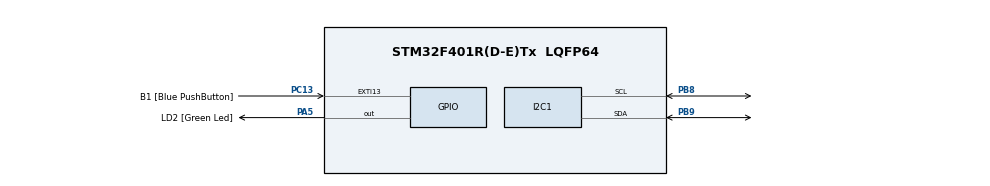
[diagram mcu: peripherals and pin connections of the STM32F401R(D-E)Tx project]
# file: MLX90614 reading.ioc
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Mcu.Family=STM32F4
Mcu.Name=STM32F401R(D-E)Tx
Mcu.Package=LQFP64
NVIC.PriorityGroup=NVIC_PRIORITYGROUP_0
PA13.GPIO_Label=TMS
PA13.Mode=Serial_Wire
PA13.Signal=SYS_JTMS-SWDIO
PA14.GPIO_Label=TCK
PA14.Mode=Serial_Wire
PA14.Signal=SYS_JTCK-SWCLK
PA5.GPIO_Label=LD2 [Green Led]
PA5.GPIO_Mode=GPIO_MODE_OUTPUT_PP
PA5.GPIO_PuPd=GPIO_NOPULL
PA5.GPIO_Speed=GPIO_SPEED_FREQ_LOW
PA5.Signal=GPIO_Output
PB3.GPIO_Label=SWO
PB3.Signal=SYS_JTDO-SWO
PB8.GPIO_Pu=GPIO_PULLUP
PB8.Mode=I2C
PB8.Signal=I2C1_SCL
PB9.GPIO_Pu=GPIO_PULLUP
PB9.Mode=I2C
PB9.Signal=I2C1_SDA
PC13-ANTI_TAMP.GPIO_Label=B1 [Blue PushButton]
PC13-ANTI_TAMP.GPIO_ModeDefaultEXTI=GPIO_MODE_IT_FALLING
PC13-ANTI_TAMP.GPIO_PuPd=GPIO_NOPULL
PC13-ANTI_TAMP.Signal=GPXTI13
PC14-OSC32_IN.Mode=LSE-External-Oscillator
PC14-OSC32_IN.Signal=RCC_OSC32_IN
PC15-OSC32_OUT.Mode=LSE-External-Oscillator
PC15-OSC32_OUT.Signal=RCC_OSC32_OUT
PH0\ -\ OSC_IN.Mode=HSE-External-Clock-Source
PH0\ -\ OSC_IN.Signal=RCC_OSC_IN
PH1\ -\ OSC_OUT.Mode=HSE-External-Clock-Source
PH1\ -\ OSC_OUT.Signal=RCC_OSC_OUT
ProjectManager.HeapSize=0x200
ProjectManager.StackSize=0x400
ProjectManager.TargetToolchain=STM32CubeIDE
RCC.48MHZClocksFreq_Value=48000000
RCC.AHBFreq_Value=84000000
RCC.APB1CLKDivider=RCC_HCLK_DIV2
RCC.APB1Freq_Value=42000000
RCC.APB1TimFreq_Value=84000000
RCC.APB2Freq_Value=84000000
RCC.APB2TimFreq_Value=84000000
RCC.CortexFreq_Value=84000000
RCC.HCLKFreq_Value=84000000
RCC.HSE_VALUE=8000000
RCC.HSI_VALUE=16000000
RCC.PLLN=336
RCC.PLLP=RCC_PLLP_DIV4
RCC.PLLQ=7
RCC.SYSCLKFreq_VALUE=84000000
RCC.SYSCLKSource=RCC_SYSCLKSOURCE_PLLCLK
RCC.VCOOutputFreq_Value=336000000
board=NUCLEO-F401RE

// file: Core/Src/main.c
/* USER CODE BEGIN Header */
/**
 ******************************************************************************
 * @file           : main.c
 * @brief          : Main program body
 ******************************************************************************
 * @attention
 *
 * Copyright (c) 2023 STMicroelectronics.
 * All rights reserved.
 *
 * This software is licensed under terms that can be found in the LICENSE file
 * in the root directory of this software component.
 * If no LICENSE file comes with this software, it is provided AS-IS.
 *
 ******************************************************************************
 */
/* USER CODE END Header */
#include "main.h"

/* USER CODE BEGIN Includes */
#include "BML_DEF.h"
#include "uart.h"
#include "rcc.h"
#include "MLX90614.h"
/* USER CODE END Includes */

/* USER CODE BEGIN PD */
I2C_HandleTypeDef hi2c1;
/* USER CODE END PD */

/* USER CODE BEGIN PV */
float temp = 0;
/* USER CODE END PV */

void SystemClock_Config(void);
static void MX_GPIO_Init(void);
void MX_I2C1_Init(void);

int main(void) {

	/* MCU Configuration--------------------------------------------------------*/

	/* Reset of all peripherals, Initializes the Flash interface and the Systick. */
	HAL_Init();

	/* USER CODE BEGIN Init */
	RCC_CONFIG_84MHZ();
	/* USER CODE END Init */

	/* Configure the system clock */
//	SystemClock_Config();

	/* Initialize all configured peripherals */
	MX_GPIO_Init();
	MX_I2C1_Init();
	/* USER CODE BEGIN 2 */
	uart_print_config(9600);
	print("Working\n");

	uint8_t mlx90614_workingFlag = 1, status = 0;

	if (!(mlx90614_init())) {
		print("Error in MLX90614 INIT\n");
		mlx90614_workingFlag = 0;
	}

	/* USER CODE END 2 */

	/* Infinite loop */
	/* USER CODE BEGIN WHILE */
	while (1) {
		if (mlx90614_workingFlag == 1) {
			status = mlx90614_getObject1(&temp);
			if (status == 1) {
				print("Temp in Celsius: = %0.2f\n", temp);
				Delay(500);
			}else{
				mlx90614_workingFlag = 0;
			}
		} else {
			if (!(mlx90614_init())) {
				print("Error in MLX90614 INIT\n");
				Delay(500);
				mlx90614_workingFlag = 0;
			} else {
				mlx90614_workingFlag = 1;
			}
		}
		/* USER CODE END WHILE */

	}
}

void MX_I2C1_Init(void)
{

  hi2c1.Instance = I2C1;
  hi2c1.Init.ClockSpeed = 100000;
  hi2c1.Init.DutyCycle = I2C_DUTYCYCLE_2;
  hi2c1.Init.OwnAddress1 = 0;
  hi2c1.Init.AddressingMode = I2C_ADDRESSINGMODE_7BIT;
  hi2c1.Init.DualAddressMode = I2C_DUALADDRESS_DISABLE;
  hi2c1.Init.OwnAddress2 = 0;
  hi2c1.Init.GeneralCallMode = I2C_GENERALCALL_DISABLE;
  hi2c1.Init.NoStretchMode = I2C_NOSTRETCH_DISABLE;
  if (HAL_I2C_Init(&hi2c1) != HAL_OK)
  {
    Error_Handler();
  }

}

static void MX_GPIO_Init(void) {
	GPIO_InitTypeDef GPIO_InitStruct = { 0 };

	/* GPIO Ports Clock Enable */
	__HAL_RCC_GPIOC_CLK_ENABLE();
	__HAL_RCC_GPIOH_CLK_ENABLE();
	__HAL_RCC_GPIOA_CLK_ENABLE();
	__HAL_RCC_GPIOB_CLK_ENABLE();

	/*Configure GPIO pin Output Level */
	HAL_GPIO_WritePin(LD2_GPIO_Port, LD2_Pin, GPIO_PIN_RESET);

	/*Configure GPIO pin : B1_Pin */
	GPIO_InitStruct.Pin = B1_Pin;
	GPIO_InitStruct.Mode = GPIO_MODE_IT_FALLING;
	GPIO_InitStruct.Pull = GPIO_NOPULL;
	HAL_GPIO_Init(B1_GPIO_Port, &GPIO_InitStruct);

	/*Configure GPIO pin : LD2_Pin */
	GPIO_InitStruct.Pin = LD2_Pin;
	GPIO_InitStruct.Mode = GPIO_MODE_OUTPUT_PP;
	GPIO_InitStruct.Pull = GPIO_NOPULL;
	GPIO_InitStruct.Speed = GPIO_SPEED_FREQ_LOW;
	HAL_GPIO_Init(LD2_GPIO_Port, &GPIO_InitStruct);

}

/* USER CODE BEGIN 4 */
void HAL_I2C_MasterRxCpltCallback(I2C_HandleTypeDef *hi2c) {

}
/* USER CODE END 4 */

void Error_Handler(void) {
	__disable_irq();
	while (1) {
	}
}
